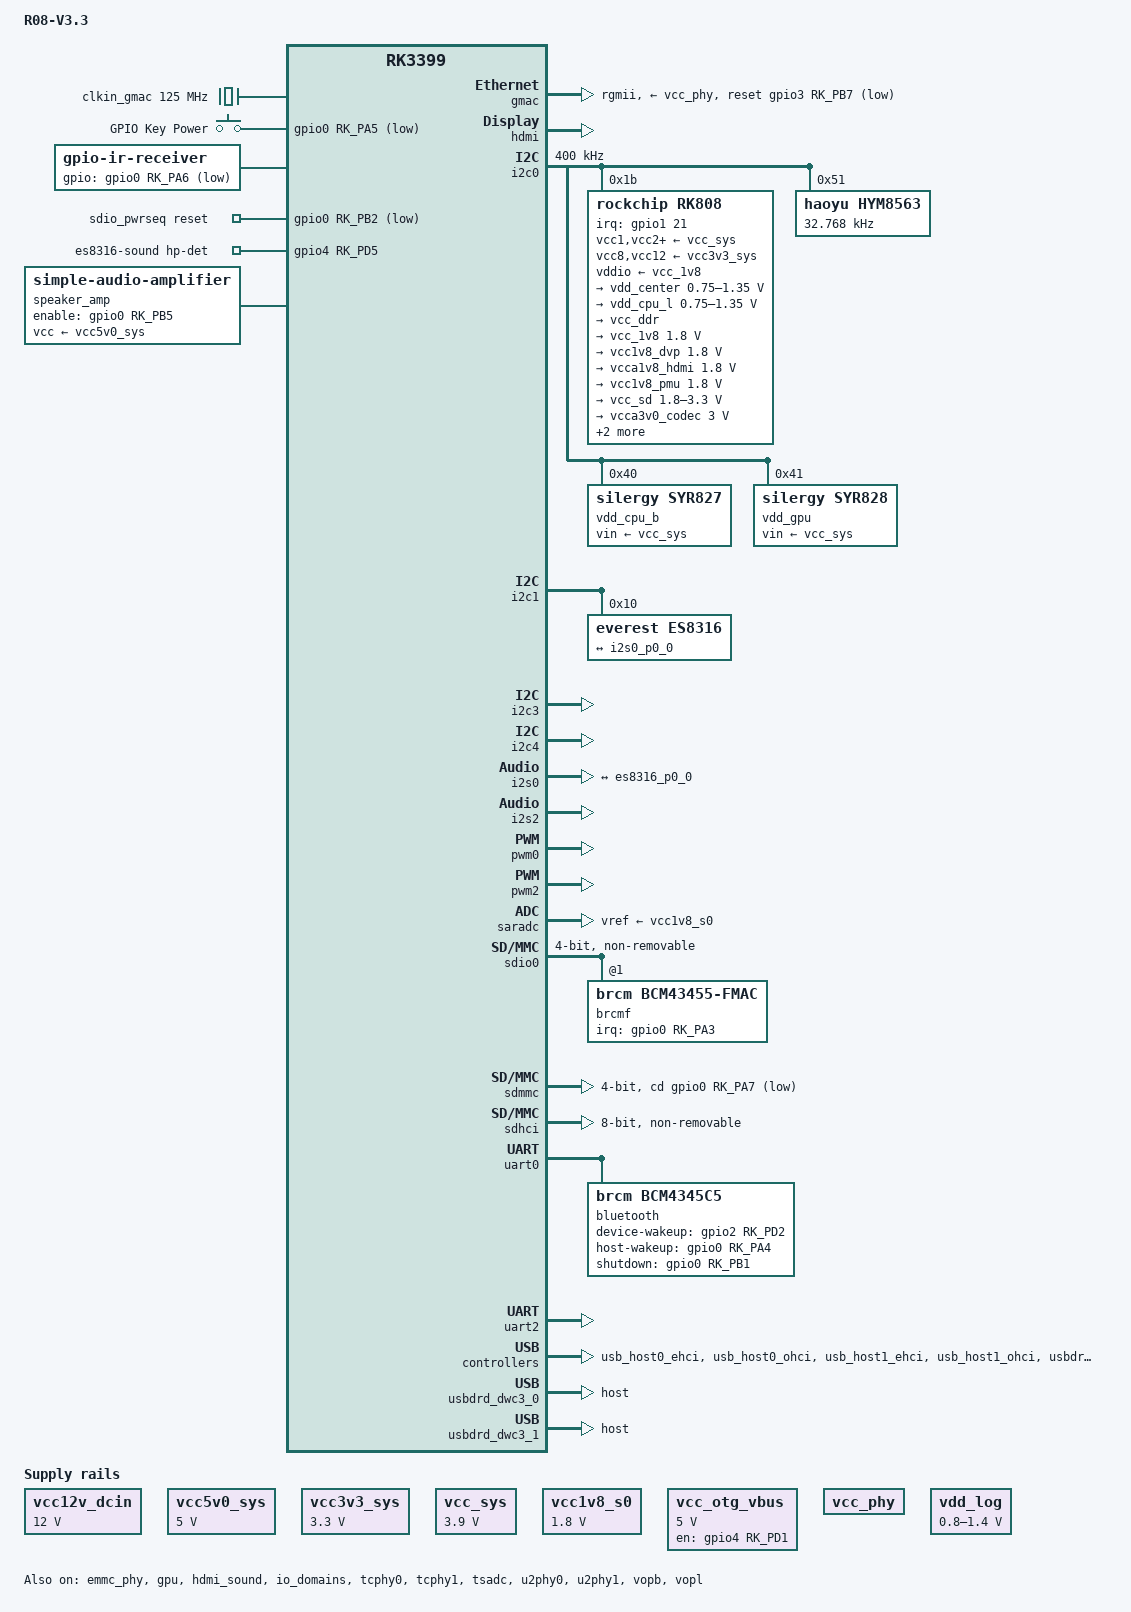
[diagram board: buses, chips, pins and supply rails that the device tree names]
// SPDX-License-Identifier: (GPL-2.0+ OR MIT)
/dts-v1/;
#include <dt-bindings/input/linux-event-codes.h>
#include <dt-bindings/pwm/pwm.h>
#include "dt-bindings/input/input.h"
#include <dt-bindings/interrupt-controller/irq.h>
#include "rk3399.dtsi"
#include "rk3399-opp.dtsi"

/ {
	model = "R08-V3.3";
	compatible = "rockchip,rk3399-evb", "rockchip,rk3399";

	aliases {
		ethernet0 = &gmac;
		mmc0 = &sdio0;
		mmc1 = &sdmmc;
		mmc2 = &sdhci;
	};

	chosen {
		stdout-path = "serial2:1500000n8";
	};

	clkin_gmac: external-gmac-clock {
		compatible = "fixed-clock";
		clock-frequency = <125000000>;
		clock-output-names = "clkin_gmac";
		#clock-cells = <0>;
	};

	gpio-keys {
		compatible = "gpio-keys";
		autorepeat;
		pinctrl-names = "default";
		pinctrl-0 = <&pwrbtn>;

		key-power {
			debounce-interval = <100>;
			gpios = <&gpio0 RK_PA5 GPIO_ACTIVE_LOW>; // bsp
			label = "GPIO Key Power";
			linux,code = <KEY_POWER>;
			wakeup-source;
		};
	};

	// pwm3
	ir-receiver {
		compatible = "gpio-ir-receiver";
		gpios = <&gpio0 RK_PA6 GPIO_ACTIVE_LOW>;
		pinctrl-0 = <&ir_int>;
		pinctrl-names = "default";
	};

	sdio_pwrseq: sdio-pwrseq {
		compatible = "mmc-pwrseq-simple";
		clocks = <&rk808 1>;
		clock-names = "ext_clock";
		pinctrl-names = "default";
		pinctrl-0 = <&wifi_enable_h>;
		reset-gpios = <&gpio0 RK_PB2 GPIO_ACTIVE_LOW>; // bsp
	};

	vcc12v_dcin: vcc12v-dcin {
		compatible = "regulator-fixed";
		regulator-name = "vcc12v_dcin";
		regulator-always-on;
		regulator-boot-on;
		regulator-min-microvolt = <12000000>;
		regulator-max-microvolt = <12000000>;
	};

	vcc5v0_sys: vcc5v0-sys {
		compatible = "regulator-fixed";
		regulator-name = "vcc5v0_sys";
		regulator-always-on;
		regulator-boot-on;
		regulator-min-microvolt = <5000000>;
		regulator-max-microvolt = <5000000>;
	};

	vcc3v3_sys: vcc3v3-sys {
		compatible = "regulator-fixed";
		regulator-name = "vcc3v3_sys";
		regulator-always-on;
		regulator-boot-on;
		regulator-min-microvolt = <3300000>;
		regulator-max-microvolt = <3300000>;
	};

	vcc_sys: vcc-sys {
		compatible = "regulator-fixed";
		regulator-name = "vcc_sys";
		regulator-always-on;
		regulator-boot-on;
		regulator-min-microvolt = <3900000>;
		regulator-max-microvolt = <3900000>;
	};

	vcc1v8_s0: vcc1v8-s0 {
		compatible = "regulator-fixed";
		regulator-name = "vcc1v8_s0";
		regulator-min-microvolt = <1800000>;
		regulator-max-microvolt = <1800000>;
		regulator-always-on;
		regulator-boot-on;
	};

	vcc_otg_vbus: otg-vbus-regulator {
		compatible = "regulator-fixed";
		enable-active-high;
		gpio = <&gpio4 RK_PD1 GPIO_ACTIVE_HIGH>; // bsp
		pinctrl-names = "default";
		pinctrl-0 = <&otg_vbus_drv>;
		regulator-name = "vcc_otg_vbus";
		regulator-min-microvolt = <5000000>;
		regulator-max-microvolt = <5000000>;
	};

	vcc_phy: vcc-phy-regulator {
		compatible = "regulator-fixed";
		regulator-name = "vcc_phy";
		regulator-always-on;
		regulator-boot-on;
	};

	vdd_log: vdd-log { // bsp
		compatible = "pwm-regulator";
		pwms = <&pwm2 0 25000 1>;
		regulator-name = "vdd_log";
		regulator-min-microvolt = <800000>;
		regulator-max-microvolt = <1400000>;
		regulator-always-on;
		regulator-boot-on;
	};

	es8316-sound {
		status = "okay";
		compatible = "simple-audio-card";
		pinctrl-names = "default";
		pinctrl-0 = <&hp_det>;

		simple-audio-card,name = "rockchip,es8316-codec";
		simple-audio-card,format = "i2s";
		simple-audio-card,mclk-fs = <256>;
		simple-audio-card,hp-det-gpio = <&gpio4 RK_PD5 GPIO_ACTIVE_HIGH>;
		simple-audio-card,aux-devs = <&speaker_amp>;
		simple-audio-card,pin-switches = "Speaker";
		simple-audio-card,widgets =
			"Microphone", "Mic Jack",
			"Headphone", "Headphones",
			"Speaker", "Speaker";
		simple-audio-card,routing =
			"Mic Jack", "Bias",
			"Headphones", "HPOL",
			"Headphones", "HPOR",
			"Speaker Amplifier INL", "HPOL",
			"Speaker Amplifier INR", "HPOR",
			"Speaker", "Speaker Amplifier OUTL",
			"Speaker", "Speaker Amplifier OUTR";

		simple-audio-card,cpu {
			sound-dai = <&i2s0>;
		};

		simple-audio-card,codec {
			sound-dai = <&es8316>;
		};
	};

	speaker_amp: speaker-amplifier {
		compatible = "simple-audio-amplifier";
		pinctrl-names = "default";
		pinctrl-0 = <&spk_con>;
		enable-gpios = <&gpio0 RK_PB5 GPIO_ACTIVE_HIGH>;
		sound-name-prefix = "Speaker Amplifier";
		vcc-supply = <&vcc5v0_sys>;
	};
};


&cpu_l0 {
	cpu-supply = <&vdd_cpu_l>;
};

&cpu_l1 {
	cpu-supply = <&vdd_cpu_l>;
};

&cpu_l2 {
	cpu-supply = <&vdd_cpu_l>;
};

&cpu_l3 {
	cpu-supply = <&vdd_cpu_l>;
};

&cpu_b0 {
	cpu-supply = <&vdd_cpu_b>;
};

&cpu_b1 {
	cpu-supply = <&vdd_cpu_b>;
};

&emmc_phy {
	status = "okay";
};

&gmac {
	status = "okay";
	assigned-clocks = <&cru SCLK_RMII_SRC>;
	assigned-clock-parents = <&clkin_gmac>;
	clock_in_out = "input";
	phy-supply = <&vcc_phy>;
	phy-mode = "rgmii";
	pinctrl-names = "default";
	pinctrl-0 = <&rgmii_pins>;
	pinctrl-1 = <&rgmii_sleep_pins>;
	snps,reset-gpio = <&gpio3 RK_PB7 GPIO_ACTIVE_LOW>; // bsp
	snps,reset-active-low;
	snps,reset-delays-us = <0 10000 50000>;
	tx_delay = <0x28>;
	rx_delay = <0x11>;
};

&gpu {
	status = "okay";
	mali-supply = <&vdd_gpu>;
};

&hdmi {
	status = "okay";
	ddc-i2c-bus = <&i2c3>;
	pinctrl-names = "default";
	pinctrl-0 = <&hdmi_cec>;
};

&hdmi_sound {
	status = "okay";
};

&i2c0 {
	status = "okay";
	clock-frequency = <400000>;
	i2c-scl-rising-time-ns = <168>;
	i2c-scl-falling-time-ns = <4>;

	rk808: pmic@1b {
		compatible = "rockchip,rk808";
		reg = <0x1b>;
		interrupt-parent = <&gpio1>;
		interrupts = <21 IRQ_TYPE_LEVEL_LOW>;
		#clock-cells = <1>;
		clock-output-names = "xin32k", "rk808-clkout2";
		pinctrl-names = "default";
		pinctrl-0 = <&pmic_int_l>;
		rockchip,system-power-controller;
		wakeup-source;

		vcc1-supply = <&vcc_sys>;
		vcc2-supply = <&vcc_sys>;
		vcc3-supply = <&vcc_sys>;
		vcc4-supply = <&vcc_sys>;
		vcc6-supply = <&vcc_sys>;
		vcc7-supply = <&vcc_sys>;
		vcc8-supply = <&vcc3v3_sys>;
		vcc9-supply = <&vcc_sys>;
		vcc10-supply = <&vcc_sys>;
		vcc11-supply = <&vcc_sys>;
		vcc12-supply = <&vcc3v3_sys>;
		vddio-supply = <&vcc_1v8>;

		regulators {
			vdd_center: DCDC_REG1 {
				regulator-name = "vdd_center";
				regulator-min-microvolt = <750000>;
				regulator-max-microvolt = <1350000>;
				regulator-ramp-delay = <6001>;
				regulator-always-on;
				regulator-boot-on;
				regulator-state-mem {
					regulator-on-in-suspend;
					regulator-suspend-microvolt = <900000>;
				};
			};

			vdd_cpu_l: DCDC_REG2 {
				regulator-name = "vdd_cpu_l";
				regulator-min-microvolt = <750000>;
				regulator-max-microvolt = <1350000>;
				regulator-ramp-delay = <6001>;
				regulator-always-on;
				regulator-boot-on;
				regulator-state-mem {
					regulator-off-in-suspend;
				};
			};

			vcc_ddr: DCDC_REG3 {
				regulator-name = "vcc_ddr";
				regulator-always-on;
				regulator-boot-on;
				regulator-state-mem {
					regulator-on-in-suspend;
				};
			};

			vcc_1v8: DCDC_REG4 {
				regulator-name = "vcc_1v8";
				regulator-min-microvolt = <1800000>;
				regulator-max-microvolt = <1800000>;
				regulator-always-on;
				regulator-boot-on;
				regulator-state-mem {
					regulator-on-in-suspend;
					regulator-suspend-microvolt = <1800000>;
				};
			};

			vcc1v8_dvp: LDO_REG1 {
				regulator-name = "vcc1v8_dvp";
				regulator-min-microvolt = <1800000>;
				regulator-max-microvolt = <1800000>;
				regulator-always-on;
				regulator-boot-on;
				regulator-state-mem {
					regulator-on-in-suspend;
					regulator-suspend-microvolt = <1800000>;
				};
			};

			vcca1v8_hdmi: LDO_REG2 {
				regulator-name = "vcca1v8_hdmi";
				regulator-min-microvolt = <1800000>;
				regulator-max-microvolt = <1800000>;
				regulator-always-on;
				regulator-boot-on;
				regulator-state-mem {
					regulator-off-in-suspend;
				};
			};

			vcc1v8_pmu: LDO_REG3 {
				regulator-name = "vcc1v8_pmu";
				regulator-min-microvolt = <1800000>;
				regulator-max-microvolt = <1800000>;
				regulator-always-on;
				regulator-boot-on;
				regulator-state-mem {
					regulator-on-in-suspend;
					regulator-suspend-microvolt = <1800000>;
				};
			};

			vcc_sd: LDO_REG4 {
				regulator-name = "vcc_sd";
				regulator-min-microvolt = <1800000>;
				regulator-max-microvolt = <3300000>;
				regulator-always-on;
				regulator-boot-on;
				regulator-state-mem {
					regulator-on-in-suspend;
					regulator-suspend-microvolt = <3300000>;
				};
			};

			vcca3v0_codec: LDO_REG5 {
				regulator-name = "vcca3v0_codec";
				regulator-min-microvolt = <3000000>;
				regulator-max-microvolt = <3000000>;
				regulator-always-on;
				regulator-boot-on;
				regulator-state-mem {
					regulator-on-in-suspend;
					regulator-suspend-microvolt = <3000000>;
				};
			};

			vcc_1v5: LDO_REG6 {
				regulator-name = "vcc_1v5";
				regulator-min-microvolt = <1500000>;
				regulator-max-microvolt = <1500000>;
				regulator-always-on;
				regulator-boot-on;
				regulator-state-mem {
					regulator-on-in-suspend;
					regulator-suspend-microvolt = <1500000>;
				};
			};

			vcc_0v9a: LDO_REG7 {
				regulator-name = "vcc_0v9a";
				regulator-min-microvolt = <900000>;
				regulator-max-microvolt = <900000>;
				regulator-always-on;
				regulator-boot-on;
				regulator-state-mem {
					regulator-on-in-suspend;
					regulator-suspend-microvolt = <900000>;
				};
			};

			vcc_3v0: LDO_REG8 {
				regulator-name = "vcc_3v0";
				regulator-min-microvolt = <3000000>;
				regulator-max-microvolt = <3000000>;
				regulator-always-on;
				regulator-boot-on;
				regulator-state-mem {
					regulator-on-in-suspend;
					regulator-suspend-microvolt = <3000000>;
				};
			};

			vcc3v3_s3: SWITCH_REG1 {
				regulator-name = "vcc3v3_s3";
				regulator-always-on;
				regulator-boot-on;
				regulator-state-mem {
					regulator-on-in-suspend;
				};
			};

			vcc3v3_s0: SWITCH_REG2 {
				regulator-name = "vcc3v3_s0";
				regulator-always-on;
				regulator-boot-on;
				regulator-state-mem {
					regulator-off-in-suspend;
				};
			};
		};
	};

	hym8563: hym8563@51 {
		compatible = "haoyu,hym8563";
		reg = <0x51>;
		#clock-cells = <0>;
		clock-frequency = <32768>;
		clock-output-names = "xin32k";
	};

	vdd_cpu_b: regulator@40 {
		compatible = "silergy,syr827";
		reg = <0x40>;
		fcs,suspend-voltage-selector = <1>;
		pinctrl-names = "default";
		pinctrl-0 = <&vsel1_pin>;
		regulator-name = "vdd_cpu_b";
		regulator-min-microvolt = <712500>;
		regulator-max-microvolt = <1500000>;
		regulator-ramp-delay = <1000>;
		regulator-always-on;
		regulator-boot-on;
		vin-supply = <&vcc_sys>;

		regulator-state-mem {
			regulator-on-in-suspend;
		};
	};

	vdd_gpu: regulator@41 {
		compatible = "silergy,syr828";
		reg = <0x41>;
		fcs,suspend-voltage-selector = <1>;
		pinctrl-names = "default";
		pinctrl-0 = <&vsel2_pin>;
		regulator-name = "vdd_gpu";
		regulator-min-microvolt = <712500>;
		regulator-max-microvolt = <1500000>;
		regulator-ramp-delay = <1000>;
		regulator-always-on;
		regulator-boot-on;
		vin-supply = <&vcc_sys>;

		regulator-state-mem {
			regulator-on-in-suspend;
		};
	};
};

// ES8316
&i2c1 {
	i2c-scl-rising-time-ns = <300>;
	i2c-scl-falling-time-ns = <15>;
	status = "okay";

	es8316: codec@10 {
		compatible = "everest,es8316";
		reg = <0x10>;
		clocks = <&cru SCLK_I2S_8CH_OUT>;
		clock-names = "mclk";
		#sound-dai-cells = <0>;

		port {
			es8316_p0_0: endpoint {
				remote-endpoint = <&i2s0_p0_0>;
			};
		};
	};
};

// HDMI
&i2c3 {
	status = "okay";
};

&i2c4 {
	i2c-scl-rising-time-ns = <600>;
	i2c-scl-falling-time-ns = <40>;
	status = "okay";
};

&i2s0 {
	rockchip,playback-channels = <8>;
	rockchip,capture-channels = <8>;
	status = "okay";

	i2s0_p0: port {
		i2s0_p0_0: endpoint {
			dai-format = "i2s";
			mclk-fs = <256>;
			remote-endpoint = <&es8316_p0_0>;
		};
	};
};

// HDMI sound
&i2s2 {
	#sound-dai-cells = <0>;
	status = "okay";
};

&io_domains {
	status = "okay";
	bt656-supply = <&vcc1v8_dvp>;
	audio-supply = <&vcc_1v8>;
	sdmmc-supply = <&vcc_sd>;
	gpio1830-supply = <&vcc_3v0>;
};

&pmu_io_domains {
	status = "okay";
	pmu1830-supply = <&vcc_1v8>;
};

&pinctrl {
	bl_ctrl {
		bl_en: bl-en {
			rockchip,pins = <1 RK_PB2 RK_FUNC_GPIO &pcfg_pull_none>; // bsp
		};
	};

	headphone {
		hp_con: hp-con {
			rockchip,pins = <4 RK_PC5 RK_FUNC_GPIO &pcfg_output_high>; // bsp
		};

		hp_det: hp-det {
			rockchip,pins = <4 RK_PD5 RK_FUNC_GPIO &pcfg_pull_up>; // bsp
		};
	};

	spk {
		spk_con: spk-con {
			rockchip,pins = <0 RK_PB5 RK_FUNC_GPIO &pcfg_pull_up>; // bsp
		};
	};

	bt {
		bt_enable_h: bt-enable-h {
			rockchip,pins = <0 RK_PB1 RK_FUNC_GPIO &pcfg_pull_none>; // bsp
		};

		bt_host_wake_l: bt-host-wake-l {
			rockchip,pins = <0 RK_PA4 RK_FUNC_GPIO &pcfg_pull_none>; // bsp
		};

		bt_wake_l: bt-wake-l {
			rockchip,pins = <2 RK_PD2 RK_FUNC_GPIO &pcfg_pull_none>; // bsp
		};
	};

	wifi {
		wifi_enable_h: wifi-enable-h {
			rockchip,pins = <0 RK_PB2 RK_FUNC_GPIO &pcfg_pull_none>; // bsp
		};

		wifi_host_wake_l: wifi-host-wake-l {
			rockchip,pins = <0 RK_PA3 RK_FUNC_GPIO &pcfg_pull_none>; // bsp
		};
	};

	usb2 {
		otg_vbus_drv: otg-vbus-drv {
			rockchip,pins = <4 RK_PD1 RK_FUNC_GPIO &pcfg_pull_none>; // bsp
		};
	};

	buttons {
		pwrbtn: pwrbtn {
			rockchip,pins = <0 RK_PA5 RK_FUNC_GPIO &pcfg_pull_up>; // bsp
		};
	};

	pmic {
		pmic_int_l: pmic-int-l {
			rockchip,pins = <1 RK_PC5 RK_FUNC_GPIO &pcfg_pull_up>; // bsp
		};

		vsel1_pin: vsel1-pin {
			rockchip,pins = <1 RK_PC2 RK_FUNC_GPIO &pcfg_pull_down>; // bsp
		};

		vsel2_pin: vsel2-pin {
			rockchip,pins = <1 RK_PB6 RK_FUNC_GPIO &pcfg_pull_down>; // bsp
		};
	};

	gmac {
		rgmii_sleep_pins: rgmii-sleep-pins {
			rockchip,pins =<3 RK_PB7 RK_FUNC_GPIO &pcfg_output_low>; // bsp
		};
	};

	ir {
		ir_int: ir-int {
			rockchip,pins = <0 RK_PA6 RK_FUNC_GPIO &pcfg_pull_none>;
		};
	};
};

&pwm0 {
	status = "okay";
};

&pwm2 {
	status = "okay";
};

&saradc {
	vref-supply = <&vcc1v8_s0>;
	status = "okay";
};

&sdio0 {
	status = "okay";
	#address-cells = <1>;
	#size-cells = <0>;
	bus-width = <4>;
	clock-frequency = <50000000>;
	cap-sdio-irq;
	cap-sd-highspeed;
	keep-power-in-suspend;
	mmc-pwrseq = <&sdio_pwrseq>;
	non-removable;
	pinctrl-names = "default";
	pinctrl-0 = <&sdio0_bus4 &sdio0_cmd &sdio0_clk>;
	sd-uhs-sdr104;

	brcmf: wifi@1 {
		compatible = "brcm,bcm43455-fmac";
		reg = <1>;
		interrupt-parent = <&gpio0>;
		interrupts = <RK_PA3 GPIO_ACTIVE_HIGH>; // bsp
		interrupt-names = "host-wake";
		pinctrl-names = "default";
		pinctrl-0 = <&wifi_host_wake_l>; // bsp
	};
};

&sdmmc {
	status = "okay";
	bus-width = <4>;
	cap-mmc-highspeed;
	cap-sd-highspeed;
	cd-gpios = <&gpio0 RK_PA7 GPIO_ACTIVE_LOW>; // bsp
	disable-wp;
	sd-uhs-sdr104;
	max-frequency = <150000000>;
	pinctrl-names = "default";
	pinctrl-0 = <&sdmmc_clk &sdmmc_cd &sdmmc_cmd &sdmmc_bus4>;
	vqmmc-supply = <&vcc_sd>;
};

&sdhci {
	status = "okay";
	bus-width = <8>;
	mmc-hs400-1_8v;
	mmc-hs400-enhanced-strobe;
	non-removable;
	status = "okay";
};

&tcphy0 {
	status = "okay";
};

&tcphy1 {
	status = "okay";
};

&tsadc {
	status = "okay";
	/* tshut mode 0:CRU 1:GPIO */
	rockchip,hw-tshut-mode = <1>;
	/* tshut polarity 0:LOW 1:HIGH */
	rockchip,hw-tshut-polarity = <1>;
};

&u2phy0 {
	status = "okay";

	u2phy0_host: host-port {
		status = "okay";
	};
	u2phy0_otg: otg-port {
		status = "okay";
		vbus-supply = <&vcc_otg_vbus>;
	};
};

&u2phy1 {
	status = "okay";

	u2phy1_host: host-port {
		status = "okay";
	};
	u2phy1_otg: otg-port {
		status = "okay";
	};
};

&uart0 {
	status = "okay";
	pinctrl-names = "default";
	pinctrl-0 = <&uart0_xfer &uart0_cts &uart0_rts>;

	bluetooth {
		compatible = "brcm,bcm4345c5";
		clocks = <&rk808 1>;
		clock-names = "ext_clock";
		device-wakeup-gpios = <&gpio2 RK_PD2 GPIO_ACTIVE_HIGH>; // bsp
		host-wakeup-gpios = <&gpio0 RK_PA4 GPIO_ACTIVE_HIGH>; // bsp
		shutdown-gpios = <&gpio0 RK_PB1 GPIO_ACTIVE_HIGH>; // bsp
		max-speed = <1500000>;
		pinctrl-names = "default";
		pinctrl-0 = <&bt_host_wake_l &bt_wake_l &bt_enable_h>;
	};
};

// Debug TTL
&uart2 {
	status = "okay";
};

&usb_host0_ehci {
	status = "okay";
};

&usb_host0_ohci {
	status = "okay";
};

&usb_host1_ehci {
	status = "okay";
};

&usb_host1_ohci {
	status = "okay";
};

&usbdrd3_0 {
	status = "okay";
};

&usbdrd3_1 {
	status = "okay";
};

&usbdrd_dwc3_0 {
	status = "okay";
	dr_mode = "host";
};

&usbdrd_dwc3_1 {
	status = "okay";
	dr_mode = "host";
};

&vopb {
	status = "okay";
};

&vopb_mmu {
	status = "okay";
};

&vopl {
	status = "okay";
};

&vopl_mmu {
	status = "okay";
};

&iep_mmu {
	status = "okay";
};
